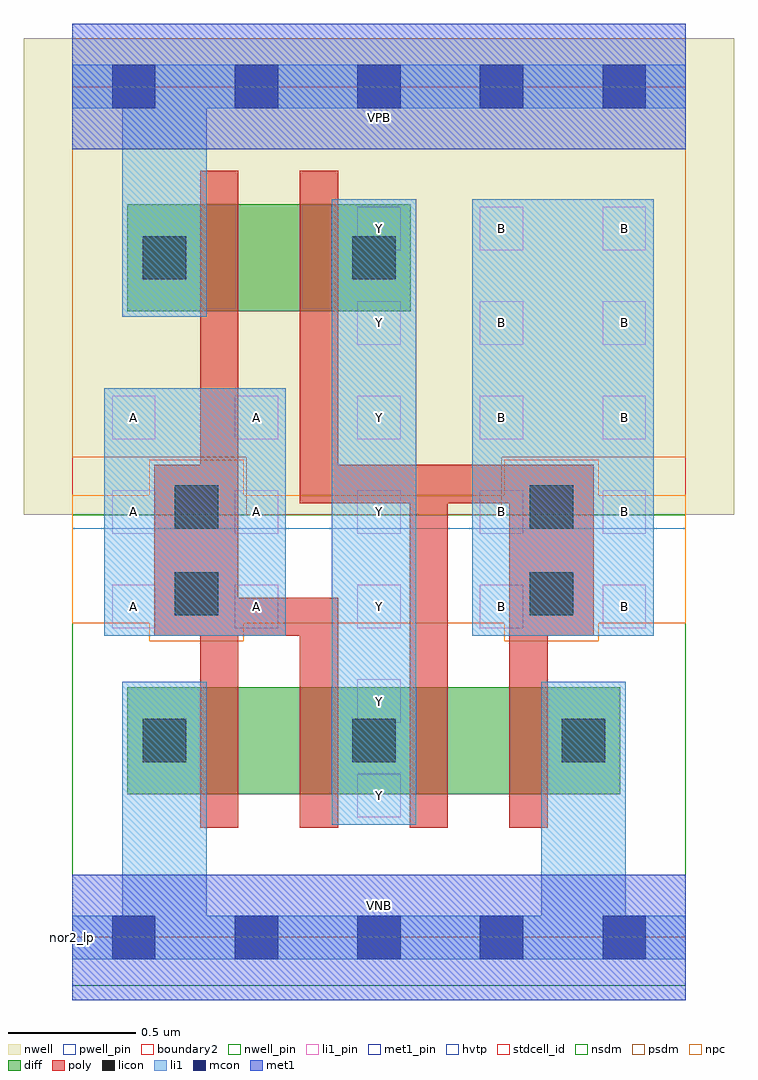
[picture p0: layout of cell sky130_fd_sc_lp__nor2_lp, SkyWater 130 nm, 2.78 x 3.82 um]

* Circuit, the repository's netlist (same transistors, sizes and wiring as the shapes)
* Copyright 2020 The SkyWater PDK Authors
*
* Licensed under the Apache License, Version 2.0 (the "License");
* you may not use this file except in compliance with the License.
* You may obtain a copy of the License at
*
*     https://www.apache.org/licenses/LICENSE-2.0
*
* Unless required by applicable law or agreed to in writing, software
* distributed under the License is distributed on an "AS IS" BASIS,
* WITHOUT WARRANTIES OR CONDITIONS OF ANY KIND, either express or implied.
* See the License for the specific language governing permissions and
* limitations under the License.
*
* SPDX-License-Identifier: Apache-2.0

.SUBCKT sky130_fd_sc_lp__nor2_lp A B VGND VNB VPB VPWR Y
*.PININFO A:I B:I VGND:I VNB:I VPB:I VPWR:I Y:O
MMP0 VPWR A sndPA VPB sky130_fd_pr__pfet_01v8_hvt m=1 w=0.42U l=0.15U mult=1 sa=0.265
+ sb=0.265 sd=0.28 area=0.063 perim=1.14
MMP1 sndPA B Y VPB sky130_fd_pr__pfet_01v8_hvt m=1 w=0.42U l=0.15U mult=1 sa=0.265
+ sb=0.265 sd=0.28 area=0.063 perim=1.14
MMN0 Y A net43 VNB sky130_fd_pr__nfet_01v8 m=1 w=0.42U l=0.15U mult=1 sa=0.265
+ sb=0.265 sd=0.28 area=0.063 perim=1.14
MI7 net43 A VGND VNB sky130_fd_pr__nfet_01v8 m=1 w=0.42U l=0.15U mult=1 sa=0.265
+ sb=0.265 sd=0.28 area=0.063 perim=1.14
MMN1 Y B net35 VNB sky130_fd_pr__nfet_01v8 m=1 w=0.42U l=0.15U mult=1 sa=0.265
+ sb=0.265 sd=0.28 area=0.063 perim=1.14
MI8 net35 B VGND VNB sky130_fd_pr__nfet_01v8 m=1 w=0.42U l=0.15U mult=1 sa=0.265
+ sb=0.265 sd=0.28 area=0.063 perim=1.14
.ENDS sky130_fd_sc_lp__nor2_lp

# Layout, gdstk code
import gdstk
lib = gdstk.Library(unit=1e-6, precision=1e-09)
def R(c, l, rs):  # rectangles x0, y0, x1, y1
    for r in rs: c.add(gdstk.rectangle(r[:2], r[2:], *l))
def A(c, l, x, y, w, h, nx, ny, dx, dy):  # array of equal rectangles
    R(c, l, [(x+i*dx, y+j*dy, x+i*dx+w, y+j*dy+h) for i in range(nx) for j in range(ny)])
def P(c, l, *ps):  # polygons
    for p in ps: c.add(gdstk.Polygon(p, *l))
nwell_pin = (64, 16)
nwell = (64, 20)
diff = (65, 20)
poly = (66, 20)
licon = (66, 44)
li1_pin = (67, 16)
li1 = (67, 20)
mcon = (67, 44)
met1_pin = (68, 16)
met1 = (68, 20)
hvtp = (78, 44)
stdcell_id = (81, 4)
nsdm = (93, 44)
psdm = (94, 20)
npc = (95, 20)
pwell_pin = (122, 16)
boundary2 = (236, 0)

sky130_fd_sc_lp__nor2_lp = lib.new_cell('sky130_fd_sc_lp__nor2_lp')
R(sky130_fd_sc_lp__nor2_lp, nwell_pin, [(0,3.085,2.4,3.33)])
R(sky130_fd_sc_lp__nor2_lp, nwell, [(-0.19,1.655,2.59,3.52)])
R(sky130_fd_sc_lp__nor2_lp, diff, [(0.215,0.56,2.145,0.98), (0.215,2.45,1.325,2.87)])
P(sky130_fd_sc_lp__nor2_lp, poly, [(1.04,1.33),(0.65,1.33),(0.65,3),(0.5,3),(0.5,1.85),(0.32,1.85),(0.32,1.18),(0.5,1.18),(0.5,0.43),(0.65,0.43),(0.65,1.18),(0.89,1.18),(0.89,0.43),(1.04,0.43)],
  [(2.04,1.85),(1.04,1.85),(1.04,3),(0.89,3),(0.89,1.7),(1.32,1.7),(1.32,0.43),(1.47,0.43),(1.47,1.7),(1.71,1.7),(1.71,0.43),(1.86,0.43),(1.86,1.18),(2.04,1.18)])
A(sky130_fd_sc_lp__nor2_lp, licon, 0.275, 0.685, 0.17, 0.17, 3, 1, 0.82, 0)
R(sky130_fd_sc_lp__nor2_lp, licon, [(0.4,1.26,0.57,1.43), (1.79,1.26,1.96,1.43), (0.4,1.6,0.57,1.77), (1.79,1.6,1.96,1.77), (0.275,2.575,0.445,2.745), (1.095,2.575,1.265,2.745)])
A(sky130_fd_sc_lp__nor2_lp, li1_pin, 0.155, 1.21, 0.17, 0.17, 5, 3, 0.48, 0.37)
A(sky130_fd_sc_lp__nor2_lp, li1_pin, 1.115, 2.32, 0.17, 0.17, 3, 2, 0.48, 0.37)
R(sky130_fd_sc_lp__nor2_lp, li1_pin, [(1.115,0.47,1.285,0.64), (1.115,0.84,1.285,1.01)])
R(sky130_fd_sc_lp__nor2_lp, li1, [(1.015,0.44,1.345,2.89), (0.125,1.18,0.835,2.15), (1.565,1.18,2.275,2.89)])
P(sky130_fd_sc_lp__nor2_lp, li1, [(0.195,2.43),(0.195,3.245),(0,3.245),(0,3.415),(2.4,3.415),(2.4,3.245),(0.525,3.245),(0.525,2.43)],
  [(1.835,0.085),(1.835,1),(2.165,1),(2.165,0.085),(2.4,0.085),(2.4,-0.085),(0,-0.085),(0,0.085),(0.195,0.085),(0.195,1),(0.525,1),(0.525,0.085)])
A(sky130_fd_sc_lp__nor2_lp, mcon, 0.155, -0.085, 0.17, 0.17, 5, 2, 0.48, 3.33)
R(sky130_fd_sc_lp__nor2_lp, met1_pin, [(0,0,2.4,0.245), (0,3.085,2.4,3.33)])
R(sky130_fd_sc_lp__nor2_lp, met1, [(0,-0.245,2.4,0.245), (0,3.085,2.4,3.575)])
R(sky130_fd_sc_lp__nor2_lp, hvtp, [(0,1.6,2.4,3.33)])
R(sky130_fd_sc_lp__nor2_lp, stdcell_id, [(0,0,2.4,3.33)])
R(sky130_fd_sc_lp__nor2_lp, nsdm, [(0,-0.19,2.4,1.655)])
P(sky130_fd_sc_lp__nor2_lp, psdm, [(2.4,3.52),(0,3.52),(0,1.88),(0.68,1.88),(0.68,1.655),(1.68,1.655),(1.68,1.88),(2.4,1.88)])
P(sky130_fd_sc_lp__nor2_lp, npc, [(2.4,1.73),(2.06,1.73),(2.06,1.87),(1.69,1.87),(1.69,1.73),(0.67,1.73),(0.67,1.87),(0.3,1.87),(0.3,1.73),(0,1.73),(0,1.23),(0.3,1.23),(0.3,1.16),(0.67,1.16),(0.67,1.23),(1.69,1.23),(1.69,1.16),(2.06,1.16),(2.06,1.23),(2.4,1.23)])
R(sky130_fd_sc_lp__nor2_lp, pwell_pin, [(0,0,2.4,0.245)])
R(sky130_fd_sc_lp__nor2_lp, boundary2, [(0,0,2.4,3.33)])
sky130_fd_sc_lp__nor2_lp.add(gdstk.Label('VNB', (1.2,0.123), layer=64, texttype=59))
sky130_fd_sc_lp__nor2_lp.add(gdstk.Label('VPB', (1.2,3.208), layer=64, texttype=5))
sky130_fd_sc_lp__nor2_lp.add(gdstk.Label('nor2_lp', (0,0), layer=83, texttype=44))
sky130_fd_sc_lp__nor2_lp.add(gdstk.Label('VPWR', (1.2,3.208), layer=68, texttype=5))
sky130_fd_sc_lp__nor2_lp.add(gdstk.Label('VGND', (1.2,0.123), layer=68, texttype=5))
sky130_fd_sc_lp__nor2_lp.add(gdstk.Label('B', (1.68,1.295), layer=67, texttype=5))
sky130_fd_sc_lp__nor2_lp.add(gdstk.Label('B', (1.68,1.665), layer=67, texttype=5))
sky130_fd_sc_lp__nor2_lp.add(gdstk.Label('B', (1.68,2.035), layer=67, texttype=5))
sky130_fd_sc_lp__nor2_lp.add(gdstk.Label('B', (1.68,2.405), layer=67, texttype=5))
sky130_fd_sc_lp__nor2_lp.add(gdstk.Label('B', (1.68,2.775), layer=67, texttype=5))
sky130_fd_sc_lp__nor2_lp.add(gdstk.Label('B', (2.16,1.295), layer=67, texttype=5))
sky130_fd_sc_lp__nor2_lp.add(gdstk.Label('B', (2.16,1.665), layer=67, texttype=5))
sky130_fd_sc_lp__nor2_lp.add(gdstk.Label('B', (2.16,2.035), layer=67, texttype=5))
sky130_fd_sc_lp__nor2_lp.add(gdstk.Label('B', (2.16,2.405), layer=67, texttype=5))
sky130_fd_sc_lp__nor2_lp.add(gdstk.Label('B', (2.16,2.775), layer=67, texttype=5))
sky130_fd_sc_lp__nor2_lp.add(gdstk.Label('A', (0.24,1.295), layer=67, texttype=5))
sky130_fd_sc_lp__nor2_lp.add(gdstk.Label('A', (0.24,1.665), layer=67, texttype=5))
sky130_fd_sc_lp__nor2_lp.add(gdstk.Label('A', (0.24,2.035), layer=67, texttype=5))
sky130_fd_sc_lp__nor2_lp.add(gdstk.Label('A', (0.72,1.295), layer=67, texttype=5))
sky130_fd_sc_lp__nor2_lp.add(gdstk.Label('A', (0.72,1.665), layer=67, texttype=5))
sky130_fd_sc_lp__nor2_lp.add(gdstk.Label('A', (0.72,2.035), layer=67, texttype=5))
sky130_fd_sc_lp__nor2_lp.add(gdstk.Label('Y', (1.2,0.555), layer=67, texttype=5))
sky130_fd_sc_lp__nor2_lp.add(gdstk.Label('Y', (1.2,0.925), layer=67, texttype=5))
sky130_fd_sc_lp__nor2_lp.add(gdstk.Label('Y', (1.2,1.295), layer=67, texttype=5))
sky130_fd_sc_lp__nor2_lp.add(gdstk.Label('Y', (1.2,1.665), layer=67, texttype=5))
sky130_fd_sc_lp__nor2_lp.add(gdstk.Label('Y', (1.2,2.035), layer=67, texttype=5))
sky130_fd_sc_lp__nor2_lp.add(gdstk.Label('Y', (1.2,2.405), layer=67, texttype=5))
sky130_fd_sc_lp__nor2_lp.add(gdstk.Label('Y', (1.2,2.775), layer=67, texttype=5))

lib.write_gds('sky130_fd_sc_lp__nor2_lp.gds')
